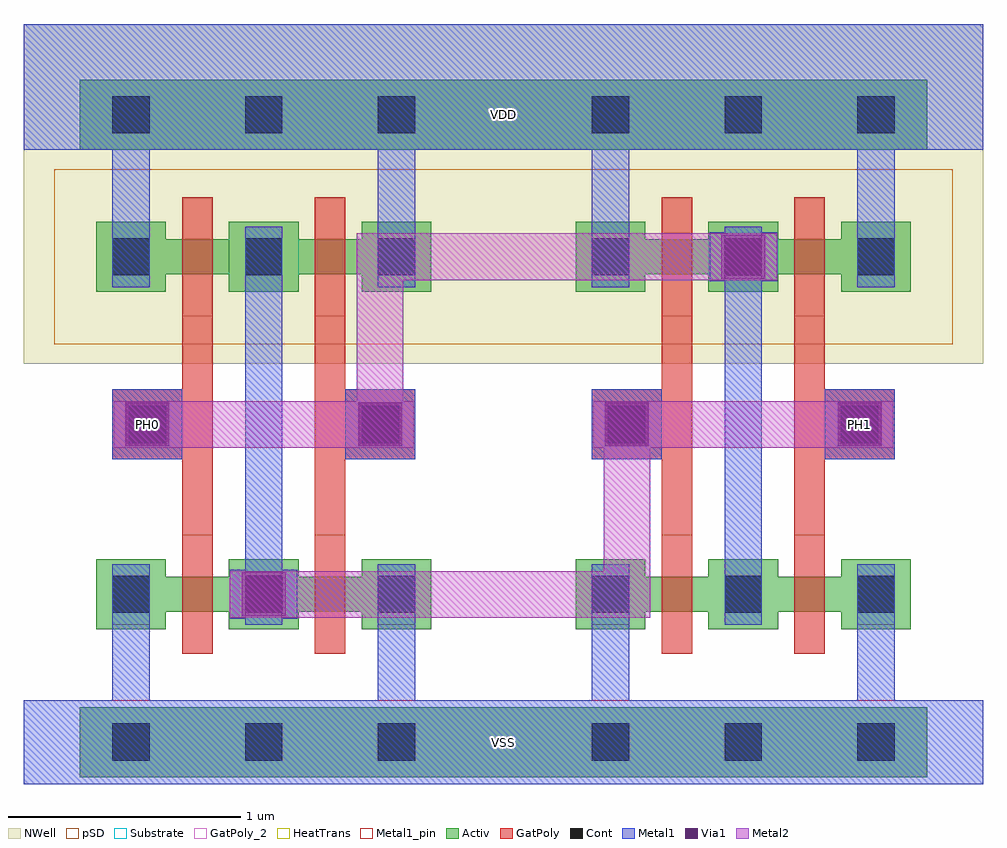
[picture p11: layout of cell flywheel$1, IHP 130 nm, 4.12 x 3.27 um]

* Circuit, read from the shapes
.subckt flywheel$1 PH0 PH1 VDD VSS
XM1 PH1 PH0 VSS VSS sg13_lv_nmos w=0.15u l=0.13u m=2
XM2 PH0 PH1 VSS VSS sg13_lv_nmos w=0.15u l=0.13u m=2
XM3 PH1 PH0 VDD VDD sg13_lv_pmos w=0.15u l=0.13u m=2
XM4 PH0 PH1 VDD VDD sg13_lv_pmos w=0.15u l=0.13u m=2
.ends

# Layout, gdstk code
from math import pi, radians
import gdstk
lib = gdstk.Library(unit=1e-6, precision=1e-09)
def R(c, l, rs):  # rectangles x0, y0, x1, y1
    for r in rs: c.add(gdstk.rectangle(r[:2], r[2:], *l))
Activ = (1, 0)
GatPoly = (5, 0)
GatPoly_2 = (5, 2)
Cont = (6, 0)
Metal1 = (8, 0)
Metal1_pin = (8, 2)
Metal2 = (10, 0)
pSD = (14, 0)
Via1 = (19, 0)
NWell = (31, 0)
Substrate = (40, 0)
HeatTrans = (51, 0)

pmos_11_1 = lib.new_cell('pmos$11$1')
R(pmos_11_1, Activ, [(0,0,0.3,0.3), (0.57,0,0.87,0.3), (0,0.075,0.87,0.225)])
R(pmos_11_1, GatPoly, [(0.37,-0.105,0.5,0.405)])
R(pmos_11_1, Cont, [(0.07,0.07,0.23,0.23), (0.64,0.07,0.8,0.23)])
R(pmos_11_1, Metal1, [(0.07,0.02,0.23,0.28), (0.64,0.02,0.8,0.28)])
R(pmos_11_1, pSD, [(-0.18,-0.225,1.05,0.525)])
R(pmos_11_1, NWell, [(-0.31,-0.31,1.18,0.61), (-0.31,-0.31,1.18,0.61), (-0.31,-0.31,1.18,0.61), (-0.31,-0.31,1.18,0.61), (-0.31,-0.31,1.18,0.61), (-0.31,-0.31,1.18,0.61)])
R(pmos_11_1, Substrate, [(0.57,0,0.87,0.3), (0.57,0,0.87,0.3), (0.57,0,0.87,0.3), (0.57,0,0.87,0.3), (0.57,0,0.87,0.3), (0.57,0,0.87,0.3)])
R(pmos_11_1, HeatTrans, [(0.37,-0.105,0.5,0.405)])
pmos_11_1.add(gdstk.Label('pmos', (0.435,0.15), layer=63, texttype=0))
pmos_11_1.add(gdstk.Label('pmos', (0.435,0.15), layer=63, texttype=0))
pmos_11_1.add(gdstk.Label('pmos', (0.435,0.15), layer=63, texttype=0))
pmos_11_1.add(gdstk.Label('pmos', (0.435,0.15), layer=63, texttype=0))
pmos_11_1.add(gdstk.Label('pmos', (0.435,0.15), layer=63, texttype=0))
pmos_11_1.add(gdstk.Label('pmos', (0.435,0.15), layer=63, texttype=0))

nmos_19_1 = lib.new_cell('nmos$19$1')
R(nmos_19_1, Activ, [(0,0,0.3,0.3), (0.57,0,0.87,0.3), (0,0.075,0.87,0.225)])
R(nmos_19_1, GatPoly, [(0.37,-0.105,0.5,0.405)])
R(nmos_19_1, GatPoly_2, [(0.37,-0.105,0.5,0.405)])
R(nmos_19_1, Cont, [(0.07,0.07,0.23,0.23), (0.64,0.07,0.8,0.23)])
R(nmos_19_1, Metal1, [(0.07,0.02,0.23,0.28), (0.64,0.02,0.8,0.28)])
R(nmos_19_1, Metal1_pin, [(0.07,0.02,0.23,0.28), (0.64,0.02,0.8,0.28)])
R(nmos_19_1, HeatTrans, [(0.37,-0.105,0.5,0.405)])
nmos_19_1.add(gdstk.Label('nmos', (0.435,0.15), layer=63, texttype=0))
nmos_19_1.add(gdstk.Label('nmos', (0.435,0.15), layer=63, texttype=0))
nmos_19_1.add(gdstk.Label('nmos', (0.435,0.15), layer=63, texttype=0))
nmos_19_1.add(gdstk.Label('nmos', (0.435,0.15), layer=63, texttype=0))
nmos_19_1.add(gdstk.Label('nmos', (0.435,0.15), layer=63, texttype=0))
nmos_19_1.add(gdstk.Label('nmos', (0.435,0.15), layer=63, texttype=0))

inv_cdr_1 = lib.new_cell('inv_CDR$1')
R(inv_cdr_1, Activ, [(0.48,-0.04,1.49,0.26), (0.48,2.655,1.49,2.955)])
R(inv_cdr_1, GatPoly, [(0.92,0.76,1.05,2.45), (0.62,1.325,0.92,1.625)])
R(inv_cdr_1, Cont, [(0.62,0.03,0.78,0.19), (1.19,0.03,1.35,0.19), (0.69,1.395,0.85,1.555), (0.62,2.725,0.78,2.885), (1.19,2.725,1.35,2.885)])
R(inv_cdr_1, Metal1, [(0.24,-0.07,1.73,0.29), (0.62,-0.04,0.78,0.875), (1.19,0.615,1.35,2.325), (0.62,1.325,0.92,1.625), (0.62,2.065,0.78,2.955), (0.24,2.655,1.73,3.195)])
R(inv_cdr_1, Metal1_pin, [(0.24,-0.07,1.73,0.29), (1.19,0.615,1.35,2.325), (0.62,1.325,0.92,1.625), (0.24,2.655,1.73,3.195)])
R(inv_cdr_1, pSD, [(0.24,-0.07,1.73,0.29)])
R(inv_cdr_1, NWell, [(0.24,2.655,1.73,3.195), (0.24,2.655,1.73,3.195), (0.24,2.655,1.73,3.195), (0.24,2.655,1.73,3.195), (0.24,2.655,1.73,3.195)])
inv_cdr_1.add(gdstk.Reference(pmos_11_1, (0.55,2.045)))
inv_cdr_1.add(gdstk.Reference(nmos_19_1, (0.55,0.595)))
inv_cdr_1.add(gdstk.Label('VOUT', (1.24,1.655), layer=8, texttype=25))
inv_cdr_1.add(gdstk.Label('VDD', (0.675,2.805), layer=8, texttype=25))
inv_cdr_1.add(gdstk.Label('VIN', (0.73,1.475), layer=8, texttype=25))
inv_cdr_1.add(gdstk.Label('VSS', (0.64,0.09), layer=8, texttype=25))

inv_d2_cdr_1 = lib.new_cell('inv_d2_CDR$1')
R(inv_d2_cdr_1, Metal1, [(0.625,1.705,0.915,1.915), (0.625,1.705,0.915,1.915), (0.625,1.705,0.915,1.915), (0.625,1.705,0.915,1.915), (0.625,1.705,0.915,1.915), (0.625,1.705,0.915,1.915), (1.625,1.705,1.915,1.915), (1.625,1.705,1.915,1.915), (1.625,1.705,1.915,1.915), (1.625,1.705,1.915,1.915), (1.625,1.705,1.915,1.915), (1.625,1.705,1.915,1.915)])
R(inv_d2_cdr_1, Metal1_pin, [(1.19,0.95,1.35,2.66), (1.19,0.95,1.35,2.66), (1.19,0.95,1.35,2.66), (1.19,0.95,1.35,2.66), (1.19,0.95,1.35,2.66), (1.19,0.95,1.35,2.66), (0.24,2.99,2.3,3.53), (0.24,2.99,2.3,3.53), (0.24,2.99,2.3,3.53), (0.24,2.99,2.3,3.53), (0.24,2.99,2.3,3.53), (0.24,2.99,2.3,3.53)])
R(inv_d2_cdr_1, Metal2, [(0.625,1.71,0.915,1.91), (0.625,1.71,0.915,1.91), (0.625,1.71,0.915,1.91), (0.625,1.71,0.915,1.91), (0.625,1.71,0.915,1.91), (0.625,1.71,0.915,1.91), (0.625,1.71,1.915,1.91), (0.625,1.71,1.915,1.91), (0.625,1.71,1.915,1.91), (0.625,1.71,1.915,1.91), (0.625,1.71,1.915,1.91), (0.625,1.71,1.915,1.91), (1.625,1.71,1.915,1.91), (1.625,1.71,1.915,1.91), (1.625,1.71,1.915,1.91), (1.625,1.71,1.915,1.91), (1.625,1.71,1.915,1.91), (1.625,1.71,1.915,1.91)])
R(inv_d2_cdr_1, Via1, [(0.675,1.715,0.865,1.905), (0.675,1.715,0.865,1.905), (0.675,1.715,0.865,1.905), (0.675,1.715,0.865,1.905), (0.675,1.715,0.865,1.905), (0.675,1.715,0.865,1.905), (1.675,1.715,1.865,1.905), (1.675,1.715,1.865,1.905), (1.675,1.715,1.865,1.905), (1.675,1.715,1.865,1.905), (1.675,1.715,1.865,1.905), (1.675,1.715,1.865,1.905)])
inv_d2_cdr_1.add(gdstk.Reference(inv_cdr_1, (2.54,0.335), rotation=pi, x_reflection=True))
inv_d2_cdr_1.add(gdstk.Reference(inv_cdr_1, (0,0.335)))
inv_d2_cdr_1.add(gdstk.Label('VDD', (1.27,3.14), layer=8, texttype=25))
inv_d2_cdr_1.add(gdstk.Label('VOUT', (1.26,1.49), layer=8, texttype=25))
inv_d2_cdr_1.add(gdstk.Label('VIN', (0.74,1.8), layer=8, texttype=25))
inv_d2_cdr_1.add(gdstk.Label('VSS', (1.27,0.445), layer=8, texttype=25))
inv_d2_cdr_1.add(gdstk.Label('VDD', (1.27,3.14), layer=8, texttype=25))
inv_d2_cdr_1.add(gdstk.Label('VOUT', (1.26,1.49), layer=8, texttype=25))
inv_d2_cdr_1.add(gdstk.Label('VIN', (0.74,1.8), layer=8, texttype=25))
inv_d2_cdr_1.add(gdstk.Label('VSS', (1.27,0.445), layer=8, texttype=25))
inv_d2_cdr_1.add(gdstk.Label('VDD', (1.27,3.14), layer=8, texttype=25))
inv_d2_cdr_1.add(gdstk.Label('VOUT', (1.26,1.49), layer=8, texttype=25))
inv_d2_cdr_1.add(gdstk.Label('VIN', (0.74,1.8), layer=8, texttype=25))
inv_d2_cdr_1.add(gdstk.Label('VSS', (1.27,0.445), layer=8, texttype=25))
inv_d2_cdr_1.add(gdstk.Label('VDD', (1.27,3.14), layer=8, texttype=25))
inv_d2_cdr_1.add(gdstk.Label('VOUT', (1.26,1.49), layer=8, texttype=25))
inv_d2_cdr_1.add(gdstk.Label('VIN', (0.74,1.8), layer=8, texttype=25))
inv_d2_cdr_1.add(gdstk.Label('VSS', (1.27,0.445), layer=8, texttype=25))
inv_d2_cdr_1.add(gdstk.Label('VDD', (1.27,3.14), layer=8, texttype=25))
inv_d2_cdr_1.add(gdstk.Label('VOUT', (1.26,1.49), layer=8, texttype=25))
inv_d2_cdr_1.add(gdstk.Label('VIN', (0.74,1.8), layer=8, texttype=25))
inv_d2_cdr_1.add(gdstk.Label('VSS', (1.27,0.445), layer=8, texttype=25))
inv_d2_cdr_1.add(gdstk.Label('VDD', (1.27,3.14), layer=8, texttype=25))
inv_d2_cdr_1.add(gdstk.Label('VOUT', (1.26,1.49), layer=8, texttype=25))
inv_d2_cdr_1.add(gdstk.Label('VIN', (0.74,1.8), layer=8, texttype=25))
inv_d2_cdr_1.add(gdstk.Label('VSS', (1.27,0.445), layer=8, texttype=25))

flywheel_1 = lib.new_cell('flywheel$1')
R(flywheel_1, Activ, [(2.06,0.295,2.54,0.595), (2.06,0.295,2.54,0.595), (2.06,2.99,2.54,3.29), (2.06,2.99,2.54,3.29)])
R(flywheel_1, Metal1, [(1.125,0.975,1.415,1.185), (1.125,0.975,1.415,1.185), (3.185,2.425,3.475,2.635), (3.185,2.425,3.475,2.635)])
R(flywheel_1, Metal1_pin, [(0.24,0.265,4.36,0.625), (0.24,0.265,4.36,0.625), (0.62,1.66,0.92,1.96), (0.62,1.66,0.92,1.96), (3.68,1.66,3.98,1.96), (3.68,1.66,3.98,1.96), (0.24,2.99,4.36,3.53), (0.24,2.99,4.36,3.53)])
R(flywheel_1, Metal2, [(1.125,0.98,1.415,1.18), (1.125,0.98,1.415,1.18), (1.415,0.98,2.93,1.18), (1.415,0.98,2.93,1.18), (2.73,1.18,2.93,1.71), (2.73,1.18,2.93,1.71), (1.67,1.91,1.87,2.43), (1.67,1.91,1.87,2.43), (1.67,2.43,3.185,2.63), (1.67,2.43,3.185,2.63), (3.185,2.43,3.475,2.63), (3.185,2.43,3.475,2.63)])
R(flywheel_1, pSD, [(2.17,2.155,2.43,2.905), (2.17,2.155,2.43,2.905)])
R(flywheel_1, Via1, [(1.175,0.985,1.365,1.175), (1.175,0.985,1.365,1.175), (3.235,2.435,3.425,2.625), (3.235,2.435,3.425,2.625)])
flywheel_1.add(gdstk.Reference(inv_d2_cdr_1, (2.06,0)))
flywheel_1.add(gdstk.Reference(inv_d2_cdr_1, (0,0)))
flywheel_1.add(gdstk.Label('VDD', (2.3,3.14), layer=8, texttype=25))
flywheel_1.add(gdstk.Label('VSS', (2.3,0.445), layer=8, texttype=25))
flywheel_1.add(gdstk.Label('PH0', (0.77,1.81), layer=8, texttype=25))
flywheel_1.add(gdstk.Label('PH1', (3.83,1.81), layer=8, texttype=25))
flywheel_1.add(gdstk.Label('VDD', (2.3,3.14), layer=8, texttype=25))
flywheel_1.add(gdstk.Label('VSS', (2.3,0.445), layer=8, texttype=25))
flywheel_1.add(gdstk.Label('PH0', (0.77,1.81), layer=8, texttype=25))
flywheel_1.add(gdstk.Label('PH1', (3.83,1.81), layer=8, texttype=25))

lib.write_gds('flywheel_1.gds')
